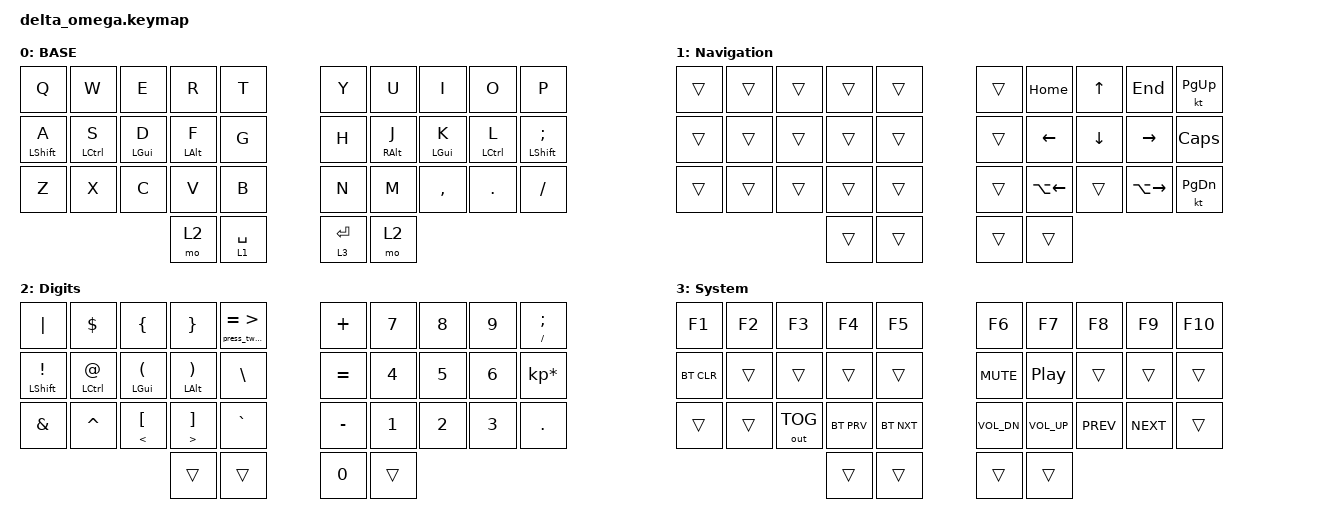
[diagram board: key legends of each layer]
#include <behaviors.dtsi>
#include <dt-bindings/zmk/bt.h>
#include <dt-bindings/zmk/keys.h>
#include <dt-bindings/zmk/outputs.h>

&lt {
    quick-tap-ms = <200>;
    tapping-term-ms = <175>;
    require-prior-idle-ms = <0>;
};

&mt {
    tapping-term-ms = <175>;
    quick-tap-ms = <200>;
    flavor = "tap-preferred";
    require-prior-idle-ms = <0>;
};

/ {
    combos {
        compatible = "zmk,combos";

        backspace {
            bindings = <&kp BACKSPACE>;
            key-positions = <16 17>;
        };

        caps-word {
            bindings = <&caps_word>;
            key-positions = <11 12 13>;
        };

        lang {
            bindings = <&kp LC(SPACE)>;
            key-positions = <20 31>;
        };

        esc {
            bindings = <&kp ESC>;
            key-positions = <0 1>;
        };

        tab {
            bindings = <&kp TAB>;
            key-positions = <1 2>;
        };

        quote {
            bindings = <&kp SQT>;
            key-positions = <8 9>;
        };
    };

    macros {
        press_two_keys: lm {
            compatible = "zmk,behavior-macro-two-param";
            #binding-cells = <2>;
            bindings =
                <&macro_param_1to1>,
                <&macro_tap>,
                <&kp MACRO_PLACEHOLDER &macro_param_2to1>,
                <&macro_tap>,
                <&kp MACRO_PLACEHOLDER>;

            label = "LM";
        };
    };

    keymap {
        compatible = "zmk,keymap";

        QWERTY {
            bindings = <
&kp Q         &kp W        &kp E       &kp R       &kp T        &kp Y        &kp U       &kp I       &kp O        &kp P
&mt LSHIFT A  &mt LCTRL S  &mt LGUI D  &mt LALT F  &kp G        &kp H        &mt RALT J  &mt LGUI K  &mt LCTRL L  &mt LSHIFT SEMICOLON
&kp Z         &kp X        &kp C       &kp V       &kp B        &kp N        &kp M       &kp COMMA   &kp DOT      &kp SLASH
                                       &mo 2       &lt 1 SPACE  &lt 3 ENTER  &mo 2
            >;

            label = "BASE";
        };

        Navigation {
            bindings = <
&trans  &trans  &trans  &trans  &trans  &trans  &kp HOME        &kp UP_ARROW    &kp END              &kt PG_UP
&trans  &trans  &trans  &trans  &trans  &trans  &kp LEFT_ARROW  &kp DOWN_ARROW  &kp RIGHT            &kp CAPS
&trans  &trans  &trans  &trans  &trans  &trans  &kp LA(LEFT)    &trans          &kp LA(RIGHT_ARROW)  &kt PAGE_DOWN
                        &trans  &trans  &trans  &trans
            >;

            label = "Navigation";
        };

        Digits {
            bindings = <
&kp PIPE                &kp DOLLAR         &kp LEFT_BRACE              &kp RIGHT_BRACE                 &press_two_keys EQUAL GREATER_THAN  &kp PLUS   &kp N7        &kp N8        &kp N9        &mt SLASH SEMICOLON
&mt LSHIFT EXCLAMATION  &mt LCTRL AT_SIGN  &mt LGUI LEFT_PARENTHESIS   &mt LALT RIGHT_PARENTHESIS      &kp BACKSLASH                       &kp EQUAL  &kp NUMBER_4  &kp N5        &kp NUMBER_6  &kp KP_MULTIPLY
&kp AMPERSAND           &kp CARET          &mt LESS_THAN LEFT_BRACKET  &mt GREATER_THAN RIGHT_BRACKET  &kp GRAVE                           &kp MINUS  &kp NUMBER_1  &kp NUMBER_2  &kp NUMBER_3  &kp PERIOD
                                                                       &trans                          &trans                              &kp N0     &trans
            >;

            label = "Digits";
        };

        System {
            bindings = <
&kp F1      &kp F2  &kp F3        &kp F4      &kp F5      &kp F6        &kp F7        &kp F8      &kp F9      &kp F10
&bt BT_CLR  &trans  &trans        &trans      &trans      &kp C_MUTE    &kp C_PP      &trans      &trans      &trans
&trans      &trans  &out OUT_TOG  &bt BT_PRV  &bt BT_NXT  &kp C_VOL_DN  &kp C_VOL_UP  &kp C_PREV  &kp C_NEXT  &trans
                                  &trans      &trans      &trans        &trans
            >;

            label = "System";
        };
    };
};
